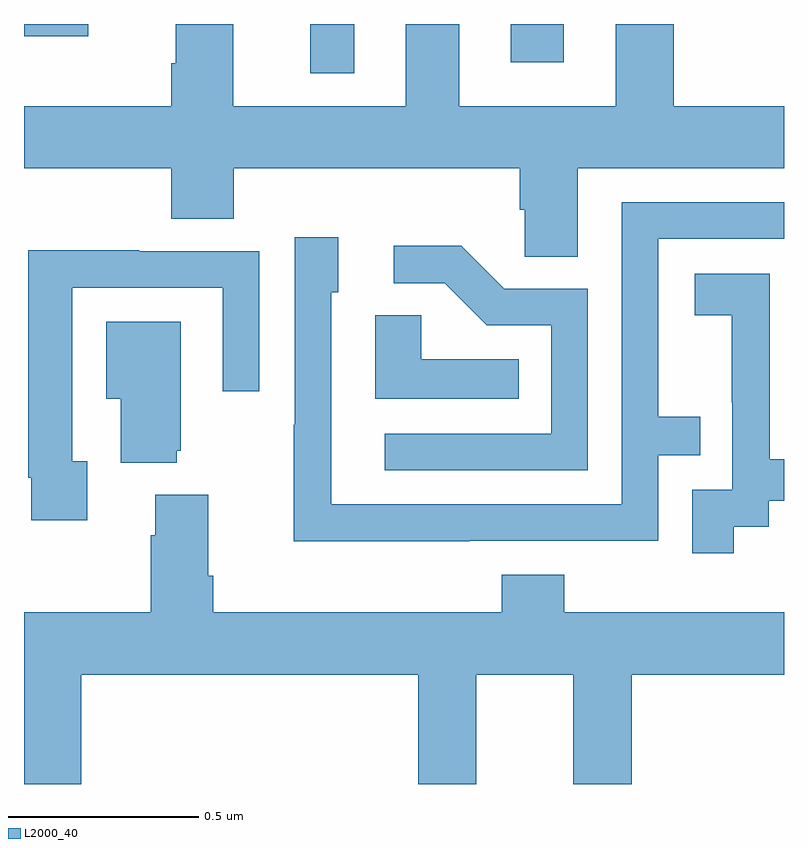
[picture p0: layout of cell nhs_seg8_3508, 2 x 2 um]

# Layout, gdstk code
import gdstk
lib = gdstk.Library(unit=1e-6, precision=1e-09)
def R(c, l, rs):  # rectangles x0, y0, x1, y1
    for r in rs: c.add(gdstk.rectangle(r[:2], r[2:], *l))
def P(c, l, *ps):  # polygons
    for p in ps: c.add(gdstk.Polygon(p, *l))
L2000_40 = (2000, 40)

nhs_seg8_3508 = lib.new_cell('nhs_seg8_3508')
R(nhs_seg8_3508, L2000_40, [(158.753,1096.77,158.869,1096.9), (159.281,1096.8,159.421,1096.9), (158,1096.868,158.169,1096.9)])
P(nhs_seg8_3508, L2000_40, [(159.457,1096.52),(160,1096.52),(160,1096.684),(159.71,1096.684),(159.71,1096.9),(159.557,1096.9),(159.557,1096.684),(159.145,1096.684),(159.145,1096.9),(159.005,1096.9),(159.005,1096.684),(158.551,1096.684),(158.551,1096.9),(158.399,1096.9),(158.399,1096.797),(158.387,1096.797),(158.387,1096.684),(158,1096.684),(158,1096.52),(158.387,1096.52),(158.387,1096.387),(158.552,1096.387),(158.552,1096.52),(159.305,1096.52),(159.305,1096.411),(159.318,1096.411),(159.318,1096.288),(159.457,1096.288)],
  [(159.173,1095.54),(159.669,1095.54),(159.669,1095.765),(159.779,1095.765),(159.779,1095.866),(159.669,1095.866),(159.669,1096.335),(160,1096.335),(160,1096.431),(159.573,1096.431),(159.573,1095.636),(158.808,1095.636),(158.808,1096.194),(158.827,1096.194),(158.827,1096.339),(158.712,1096.339),(158.712,1095.845),(158.71,1095.845),(158.71,1095.539),(159.173,1095.539)],
  [(159.483,1096.203),(159.264,1096.203),(159.151,1096.316),(158.973,1096.316),(158.973,1096.218),(159.107,1096.218),(159.218,1096.107),(159.387,1096.107),(159.387,1095.822),(158.949,1095.822),(158.949,1095.726),(159.483,1095.726)],
  [(158.167,1095.75),(158.127,1095.75),(158.127,1096.206),(158.523,1096.206),(158.523,1095.933),(158.619,1095.933),(158.619,1096.302),(158.303,1096.302),(158.303,1096.304),(158.011,1096.304),(158.011,1095.706),(158.019,1095.706),(158.019,1095.594),(158.167,1095.594)],
  [(159.868,1095.577),(159.96,1095.577),(159.96,1095.645),(160,1095.645),(160,1095.754),(159.962,1095.754),(159.962,1096.037),(159.963,1096.037),(159.963,1096.243),(159.765,1096.243),(159.765,1096.133),(159.863,1096.133),(159.863,1095.905),(159.864,1095.905),(159.864,1095.675),(159.759,1095.675),(159.759,1095.507),(159.868,1095.507)],
  [(159.302,1096.018),(159.045,1096.018),(159.045,1096.133),(158.924,1096.133),(158.924,1095.914),(159.302,1095.914)],
  [(158.402,1095.777),(158.413,1095.777),(158.413,1096.117),(158.216,1096.117),(158.216,1095.914),(158.255,1095.914),(158.255,1095.746),(158.402,1095.746)],
  [(158.15,1095.188),(159.038,1095.188),(159.038,1094.9),(159.19,1094.9),(159.19,1095.188),(159.446,1095.188),(159.446,1094.9),(159.599,1094.9),(159.599,1095.188),(160,1095.188),(160,1095.352),(159.422,1095.352),(159.422,1095.451),(159.257,1095.451),(159.257,1095.352),(158.498,1095.352),(158.498,1095.448),(158.485,1095.448),(158.485,1095.661),(158.345,1095.661),(158.345,1095.554),(158.333,1095.554),(158.333,1095.352),(158,1095.352),(158,1094.9),(158.15,1094.9)])

lib.write_gds('nhs_seg8_3508.gds')
